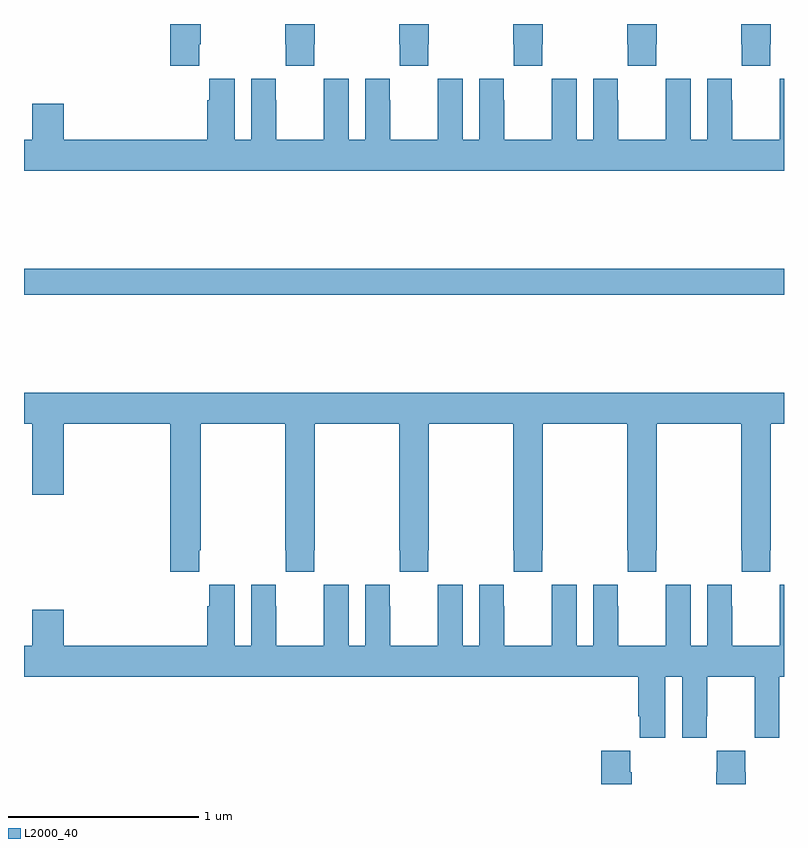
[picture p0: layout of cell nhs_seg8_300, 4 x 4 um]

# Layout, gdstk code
import gdstk
lib = gdstk.Library(unit=1e-6, precision=1e-09)
def R(c, l, rs):  # rectangles x0, y0, x1, y1
    for r in rs: c.add(gdstk.rectangle(r[:2], r[2:], *l))
def P(c, l, *ps):  # polygons
    for p in ps: c.add(gdstk.Polygon(p, *l))
L2000_40 = (2000, 40)

nhs_seg8_300 = lib.new_cell('nhs_seg8_300')
R(nhs_seg8_300, L2000_40, [(129,1154.476,133,1154.612)])
P(nhs_seg8_300, L2000_40, [(132.927,1155.793),(132.93,1155.793),(132.93,1155.9),(132.775,1155.9),(132.775,1155.793),(132.777,1155.793),(132.777,1155.681),(132.927,1155.681)],
  [(129.923,1155.793),(129.93,1155.793),(129.93,1155.9),(129.77,1155.9),(129.77,1155.681),(129.923,1155.681)],
  [(130.527,1155.793),(130.53,1155.793),(130.53,1155.9),(130.375,1155.9),(130.375,1155.793),(130.377,1155.793),(130.377,1155.681),(130.527,1155.681)],
  [(131.127,1155.793),(131.13,1155.793),(131.13,1155.9),(130.975,1155.9),(130.975,1155.793),(130.977,1155.793),(130.977,1155.681),(131.127,1155.681)],
  [(131.727,1155.793),(131.73,1155.793),(131.73,1155.9),(131.575,1155.9),(131.575,1155.793),(131.577,1155.793),(131.577,1155.681),(131.727,1155.681)],
  [(132.327,1155.793),(132.33,1155.793),(132.33,1155.9),(132.175,1155.9),(132.175,1155.793),(132.177,1155.793),(132.177,1155.681),(132.327,1155.681)],
  [(133,1155.613),(132.978,1155.613),(132.978,1155.5),(132.977,1155.5),(132.977,1155.292),(132.727,1155.292),(132.727,1155.5),(132.726,1155.5),(132.726,1155.613),(132.596,1155.613),(132.596,1155.292),(132.508,1155.292),(132.508,1155.613),(132.378,1155.613),(132.378,1155.5),(132.377,1155.5),(132.377,1155.292),(132.127,1155.292),(132.127,1155.5),(132.126,1155.5),(132.126,1155.613),(131.996,1155.613),(131.996,1155.292),(131.908,1155.292),(131.908,1155.613),(131.778,1155.613),(131.778,1155.5),(131.777,1155.5),(131.777,1155.292),(131.527,1155.292),(131.527,1155.5),(131.526,1155.5),(131.526,1155.613),(131.396,1155.613),(131.396,1155.292),(131.308,1155.292),(131.308,1155.613),(131.178,1155.613),(131.178,1155.5),(131.177,1155.5),(131.177,1155.292),(130.927,1155.292),(130.927,1155.5),(130.926,1155.5),(130.926,1155.613),(130.796,1155.613),(130.796,1155.292),(130.708,1155.292),(130.708,1155.613),(130.578,1155.613),(130.578,1155.5),(130.577,1155.5),(130.577,1155.292),(130.327,1155.292),(130.327,1155.5),(130.326,1155.5),(130.326,1155.613),(130.196,1155.613),(130.196,1155.292),(130.108,1155.292),(130.108,1155.613),(129.974,1155.613),(129.974,1155.5),(129.965,1155.5),(129.965,1155.292),(129.208,1155.292),(129.208,1155.481),(129.044,1155.481),(129.044,1155.292),(129,1155.292),(129,1155.128),(133,1155.128)],
  [(129.923,1153.129),(129.93,1153.129),(129.93,1153.796),(130.375,1153.796),(130.375,1153.129),(130.377,1153.129),(130.377,1153.017),(130.527,1153.017),(130.527,1153.129),(130.53,1153.129),(130.53,1153.796),(130.975,1153.796),(130.975,1153.129),(130.977,1153.129),(130.977,1153.017),(131.127,1153.017),(131.127,1153.129),(131.13,1153.129),(131.13,1153.796),(131.575,1153.796),(131.575,1153.129),(131.577,1153.129),(131.577,1153.017),(131.727,1153.017),(131.727,1153.129),(131.73,1153.129),(131.73,1153.796),(132.175,1153.796),(132.175,1153.129),(132.177,1153.129),(132.177,1153.017),(132.327,1153.017),(132.327,1153.129),(132.33,1153.129),(132.33,1153.796),(132.775,1153.796),(132.775,1153.129),(132.777,1153.129),(132.777,1153.017),(132.927,1153.017),(132.927,1153.129),(132.93,1153.129),(132.93,1153.796),(133,1153.796),(133,1153.96),(129,1153.96),(129,1153.796),(129.044,1153.796),(129.044,1153.422),(129.208,1153.422),(129.208,1153.796),(129.77,1153.796),(129.77,1153.017),(129.923,1153.017)],
  [(132.376,1152.464),(132.464,1152.464),(132.464,1152.144),(132.594,1152.144),(132.594,1152.256),(132.595,1152.256),(132.595,1152.464),(132.845,1152.464),(132.845,1152.256),(132.846,1152.256),(132.846,1152.144),(132.976,1152.144),(132.976,1152.464),(133,1152.464),(133,1152.949),(132.978,1152.949),(132.978,1152.836),(132.977,1152.836),(132.977,1152.628),(132.727,1152.628),(132.727,1152.836),(132.726,1152.836),(132.726,1152.949),(132.596,1152.949),(132.596,1152.628),(132.508,1152.628),(132.508,1152.949),(132.378,1152.949),(132.378,1152.836),(132.377,1152.836),(132.377,1152.628),(132.127,1152.628),(132.127,1152.836),(132.126,1152.836),(132.126,1152.949),(131.996,1152.949),(131.996,1152.628),(131.908,1152.628),(131.908,1152.949),(131.778,1152.949),(131.778,1152.836),(131.777,1152.836),(131.777,1152.628),(131.527,1152.628),(131.527,1152.836),(131.526,1152.836),(131.526,1152.949),(131.396,1152.949),(131.396,1152.628),(131.308,1152.628),(131.308,1152.949),(131.178,1152.949),(131.178,1152.836),(131.177,1152.836),(131.177,1152.628),(130.927,1152.628),(130.927,1152.836),(130.926,1152.836),(130.926,1152.949),(130.796,1152.949),(130.796,1152.628),(130.708,1152.628),(130.708,1152.949),(130.578,1152.949),(130.578,1152.836),(130.577,1152.836),(130.577,1152.628),(130.327,1152.628),(130.327,1152.836),(130.326,1152.836),(130.326,1152.949),(130.196,1152.949),(130.196,1152.628),(130.108,1152.628),(130.108,1152.949),(129.974,1152.949),(129.974,1152.836),(129.965,1152.836),(129.965,1152.628),(129.208,1152.628),(129.208,1152.817),(129.044,1152.817),(129.044,1152.628),(129,1152.628),(129,1152.464),(132.233,1152.464),(132.233,1152.256),(132.242,1152.256),(132.242,1152.144),(132.376,1152.144)],
  [(132.198,1151.963),(132.191,1151.963),(132.191,1152.076),(132.038,1152.076),(132.038,1151.9),(132.198,1151.9)],
  [(132.798,1151.963),(132.795,1151.963),(132.795,1152.076),(132.645,1152.076),(132.645,1151.963),(132.643,1151.963),(132.643,1151.9),(132.798,1151.9)])

lib.write_gds('nhs_seg8_300.gds')
